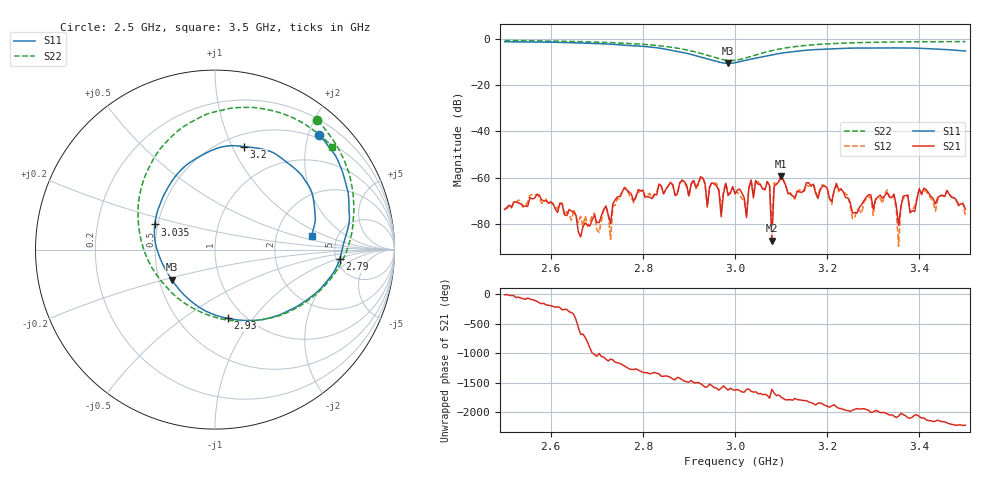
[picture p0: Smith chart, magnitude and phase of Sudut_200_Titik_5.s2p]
# Hz S RI R 50
! CMT, C1220, 16058040, 17.2.0/1
! Date: 15/08/2018 10:25:46
! Data: Format (Calibration Info)
! Freq  S11: Re/Im (F2)  S21: Re/Im (F2)  S12: Re/Im (F2)  S22: Re/Im (F2)
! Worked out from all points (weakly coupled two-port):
!   201 points, 2.5 GHz to 3.5 GHz, reference 50 ohm
!   highest |S21| = -59.33 dB at 3.1 GHz (marker M1); lowest = -87.3 dB at 3.08 GHz (marker M2)
!   lowest |S11| = -10.6 dB at 2.985 GHz (marker M3), VSWR 1.83, Z = 29.1 - j10.7 ohm
!   |S11| at or under -10 dB: 2.964 GHz to 3.008 GHz (44.57 MHz wide, 1.49 % of centre)
!   |S22| runs from -9.4 to -0.7 dB; largest |S21 - S12| = 0.00015
!   S11 on the Smith chart (normalised r, x): 2.5 GHz: 0.44, +2.19; 2.79 GHz: 5.36, -1.11; 2.93 GHz: 0.84, -0.76; 3.035 GHz: 0.48, +0.16; 3.2 GHz: 0.62, +1.11; 3.5 GHz: 3.22, +0.70
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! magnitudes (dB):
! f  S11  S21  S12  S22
! 2.5 GHz  -1.3  -73.8  -73.3  -0.7
! 2.67 GHz  -1.8  -81.2  -80.9  -1.3
! 2.79 GHz  -3.1  -65.2  -66.5  -2.2
! 2.835 GHz  -4.0  -62.7  -63.1  -3.0
! 2.93 GHz  -8.2  -60.1  -59.7  -6.6
! 2.94 GHz  -8.7  -72.3  -72.8  -7.1
! 2.95 GHz  -9.2  -62.2  -61.9  -7.8
! 2.985 GHz  -10.6  -67.7  -66.9  -9.3
! 3 GHz  -10.3  -67.0  -66.7  -9.3
! 3.025 GHz  -9.2  -77.2  -76.4  -8.2
! 3.035 GHz  -8.8  -61.0  -61.4  -7.6
! 3.075 GHz  -7.2  -63.3  -63.2  -5.3
! 3.08 GHz  -6.9  -87.3  -80.8  -5.1
! 3.085 GHz  -6.7  -63.7  -62.3  -4.9
! 3.1 GHz  -6.2  -59.3  -59.5  -4.3
! 3.17 GHz  -4.7  -62.8  -62.8  -2.6
! 3.2 GHz  -4.5  -64.5  -64.8  -2.2
! 3.255 GHz  -4.0  -75.3  -77.8  -1.7
! 3.335 GHz  -3.9  -68.2  -68.2  -1.4
! 3.355 GHz  -4.0  -80.5  -89.6  -1.4
! 3.4 GHz  -4.1  -64.8  -64.8  -1.3
! 3.5 GHz  -5.3  -73.6  -76.9  -1.2
